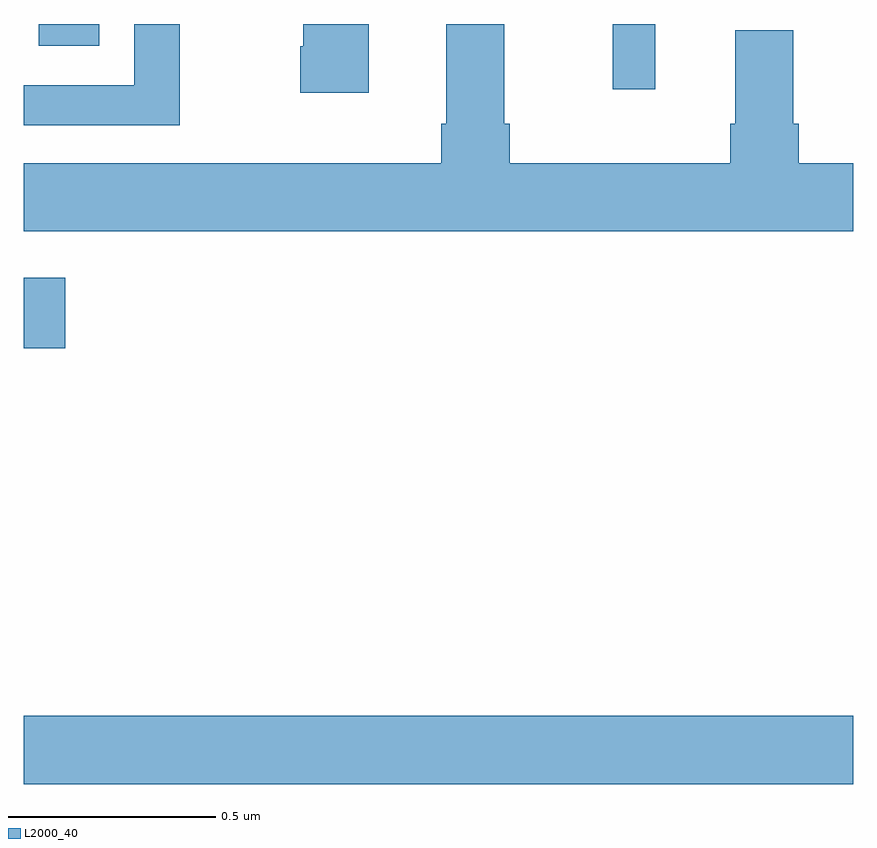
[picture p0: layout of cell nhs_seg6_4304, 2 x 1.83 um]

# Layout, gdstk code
import gdstk
lib = gdstk.Library(unit=1e-6, precision=1e-09)
def R(c, l, rs):  # rectangles x0, y0, x1, y1
    for r in rs: c.add(gdstk.rectangle(r[:2], r[2:], *l))
def P(c, l, *ps):  # polygons
    for p in ps: c.add(gdstk.Polygon(p, *l))
L2000_40 = (2000, 40)

nhs_seg6_4304 = lib.new_cell('nhs_seg6_4304')
R(nhs_seg6_4304, L2000_40, [(168,948.668,170,948.832), (168,949.718,168.1,949.888), (169.42,950.343,169.523,950.5), (168.036,950.448,168.182,950.5)])
P(nhs_seg6_4304, L2000_40, [(170,950.164),(169.868,950.164),(169.868,950.26),(169.855,950.26),(169.855,950.485),(169.715,950.485),(169.715,950.26),(169.703,950.26),(169.703,950.164),(169.172,950.164),(169.172,950.26),(169.159,950.26),(169.159,950.5),(169.019,950.5),(169.019,950.26),(169.007,950.26),(169.007,950.164),(168,950.164),(168,950),(170,950)],
  [(168.376,950.5),(168.267,950.5),(168.267,950.352),(168,950.352),(168,950.256),(168.376,950.256)],
  [(168.832,950.5),(168.674,950.5),(168.674,950.446),(168.667,950.446),(168.667,950.334),(168.832,950.334)])

lib.write_gds('nhs_seg6_4304.gds')
